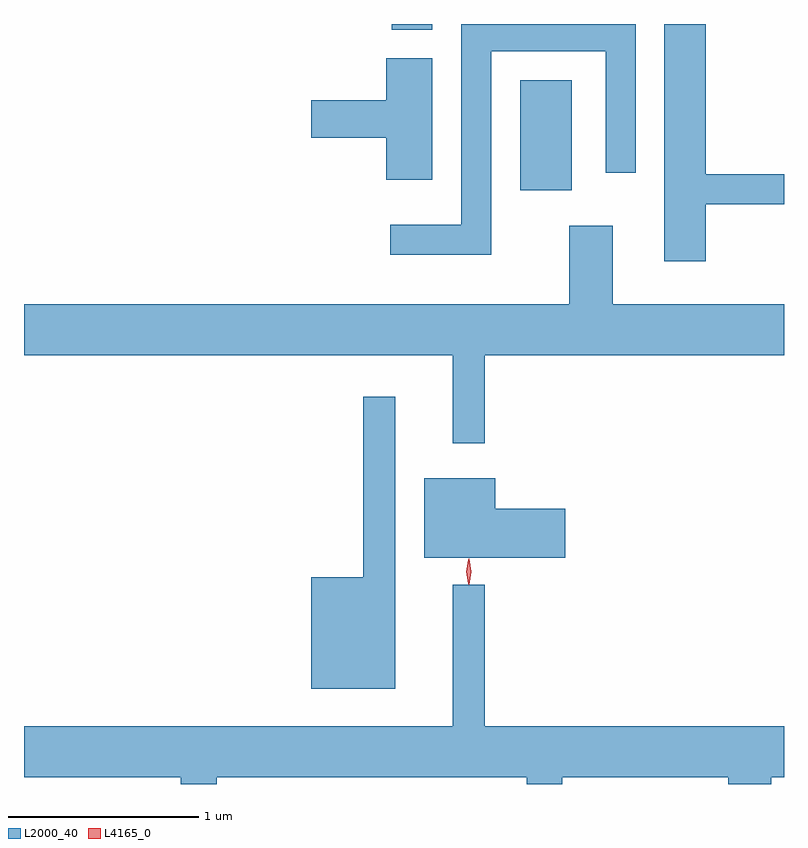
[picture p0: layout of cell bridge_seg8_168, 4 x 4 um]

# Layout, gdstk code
import gdstk
lib = gdstk.Library(unit=1e-6, precision=1e-09)
def R(c, l, rs):  # rectangles x0, y0, x1, y1
    for r in rs: c.add(gdstk.rectangle(r[:2], r[2:], *l))
def P(c, l, *ps):  # polygons
    for p in ps: c.add(gdstk.Polygon(p, *l))
L2000_40 = (2000, 40)
L4165_0 = (4165, 0)

bridge_seg8_168 = lib.new_cell('bridge_seg8_168')
R(bridge_seg8_168, L2000_40, [(1426.266,1903.886,1426.539,1904.464), (1425.591,1904.731,1425.804,1904.76)])
P(bridge_seg8_168, L2000_40, [(1427.244,1903.811),(1427.655,1903.811),(1427.655,1903.969),(1427.244,1903.969),(1427.244,1904.76),(1427.026,1904.76),(1427.026,1903.511),(1427.244,1903.511)],
  [(1426.114,1904.616),(1426.716,1904.616),(1426.716,1903.978),(1426.874,1903.978),(1426.874,1904.76),(1425.956,1904.76),(1425.956,1903.704),(1425.583,1903.704),(1425.583,1903.546),(1426.114,1903.546)],
  [(1425.804,1904.579),(1425.561,1904.579),(1425.561,1904.359),(1425.166,1904.359),(1425.166,1904.161),(1425.561,1904.161),(1425.561,1903.941),(1425.804,1903.941)],
  [(1426.079,1903.016),(1427.655,1903.016),(1427.655,1903.284),(1426.754,1903.284),(1426.754,1903.699),(1426.526,1903.699),(1426.526,1903.284),(1423.655,1903.284),(1423.655,1903.016),(1425.911,1903.016),(1425.911,1902.553),(1426.079,1902.553)],
  [(1425.609,1902.798),(1425.441,1902.798),(1425.441,1901.849),(1425.166,1901.849),(1425.166,1901.261),(1425.609,1901.261)],
  [(1426.504,1902.209),(1426.134,1902.209),(1426.134,1902.369),(1425.761,1902.369),(1425.761,1901.951),(1426.504,1901.951)],
  [(1424.669,1900.796),(1426.301,1900.796),(1426.301,1900.76),(1426.489,1900.76),(1426.489,1900.796),(1427.361,1900.796),(1427.361,1900.76),(1427.589,1900.76),(1427.589,1900.796),(1427.655,1900.796),(1427.655,1901.064),(1426.079,1901.064),(1426.079,1901.808),(1425.911,1901.808),(1425.911,1901.064),(1423.655,1901.064),(1423.655,1900.796),(1424.481,1900.796),(1424.481,1900.76),(1424.669,1900.76)])
P(bridge_seg8_168, L4165_0, [(1425.997,1901.81),(1425.988,1901.878),(1425.997,1901.945),(1425.998,1901.946),(1425.998,1901.945),(1426.008,1901.878),(1425.998,1901.81),(1425.998,1901.81)],
  [(1425.992,1901.813),(1425.982,1901.876),(1425.992,1901.939),(1425.992,1901.94),(1425.993,1901.939),(1426.002,1901.876),(1425.993,1901.813),(1425.993,1901.813)])

lib.write_gds('bridge_seg8_168.gds')
